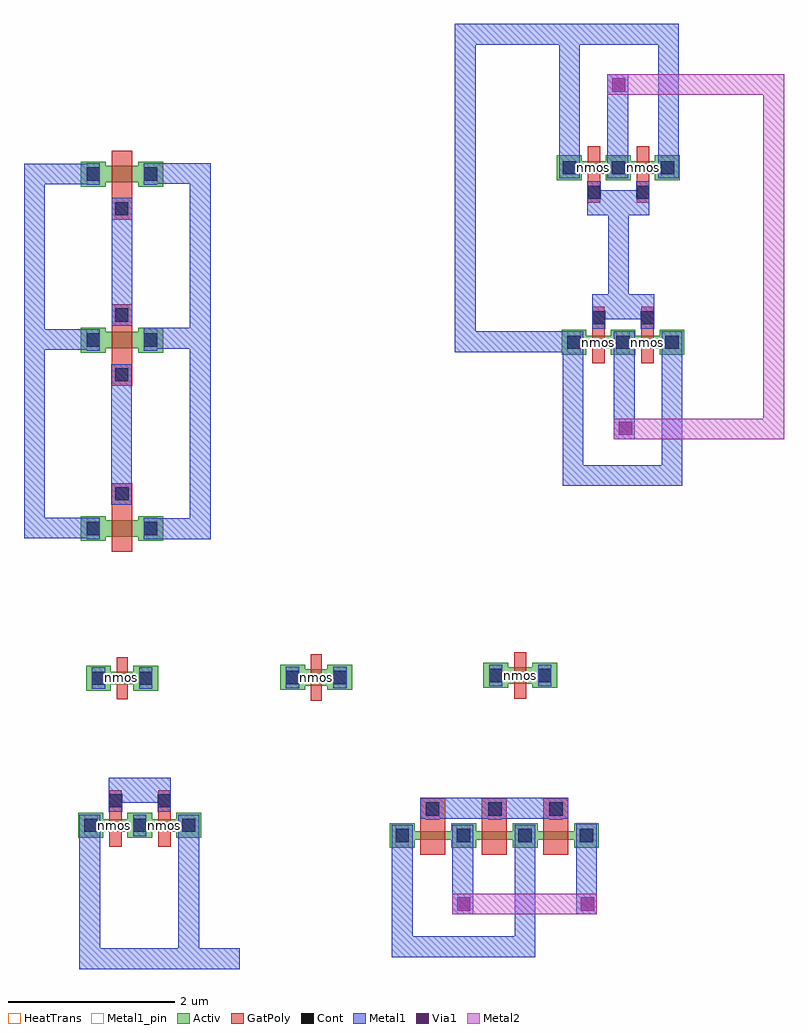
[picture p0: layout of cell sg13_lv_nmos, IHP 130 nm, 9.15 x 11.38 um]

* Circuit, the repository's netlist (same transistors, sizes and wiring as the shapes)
*==========================================================================
* Copyright 2024 IHP PDK Authors
*
* Licensed under the Apache License, Version 2.0 (the "License");
* you may not use this file except in compliance with the License.
* You may obtain a copy of the License at
*
*    https://www.apache.org/licenses/LICENSE-2.0
*
* Unless required by applicable law or agreed to in writing, software
* distributed under the License is distributed on an "AS IS" BASIS,
* WITHOUT WARRANTIES OR CONDITIONS OF ANY KIND, either express or implied.
* See the License for the specific language governing permissions and
* limitations under the License.
* SPDX-License-Identifier: Apache-2.0
*==========================================================================

.SUBCKT sg13_lv_nmos
MN1 D1 G1 S1 B sg13_lv_nmos w=150.00n l=130.00n ng=1 m=1
MN2 D2 G2 S2 B sg13_lv_nmos w=200.00n l=130.00n ng=1 m=1
MN3 D3 G3 S3 B sg13_lv_nmos w=200.00n l=150.00n ng=1 m=1
MN4 D4 G4 S4 B sg13_lv_nmos w=300.00n l=150.00n ng=2 m=1
MN5 D5 G5 S5 B sg13_lv_nmos w=300.00n l=300.00n ng=3 m=1
MN6 D6 G6 S6 B sg13_lv_nmos w=200.00n l=250.00n ng=1 m=3
MN7 D7 G7 S7 B sg13_lv_nmos w=300.00n l=150.00n ng=2 m=2
.ENDS

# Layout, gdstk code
import gdstk
lib = gdstk.Library(unit=1e-6, precision=1e-09)
def R(c, l, rs):  # rectangles x0, y0, x1, y1
    for r in rs: c.add(gdstk.rectangle(r[:2], r[2:], *l))
def A(c, l, x, y, w, h, nx, ny, dx, dy):  # array of equal rectangles
    R(c, l, [(x+i*dx, y+j*dy, x+i*dx+w, y+j*dy+h) for i in range(nx) for j in range(ny)])
Activ = (1, 0)
GatPoly = (5, 0)
Cont = (6, 0)
Metal1 = (8, 0)
Metal1_pin = (8, 2)
Metal2 = (10, 0)
Via1 = (19, 0)
HeatTrans = (51, 0)

sg13_lv_nmos = lib.new_cell('sg13_lv_nmos')
A(sg13_lv_nmos, Activ, 3.245, -1.769, 0.3, 0.3, 4, 1, 0.74, 0)
A(sg13_lv_nmos, Activ, -0.504, -1.647, 0.3, 0.3, 3, 1, 0.59, 0)
A(sg13_lv_nmos, Activ, 5.314, 4.171, 0.3, 0.3, 3, 1, 0.59, 0)
A(sg13_lv_nmos, Activ, 5.259, 6.273, 0.3, 0.3, 3, 1, 0.59, 0)
R(sg13_lv_nmos, Activ, [(3.245,-1.669,5.765,-1.569), (-0.504,-1.572,0.976,-1.422), (-0.412,0.125,-0.112,0.425), (0.158,0.125,0.458,0.425), (1.925,0.134,2.225,0.434), (2.495,0.134,2.795,0.434), (4.372,0.158,4.672,0.458), (4.962,0.158,5.262,0.458), (1.925,0.184,2.795,0.384), (-0.412,0.2,0.458,0.35), (4.372,0.208,5.262,0.408), (-0.475,1.928,-0.175,2.228), (0.215,1.928,0.515,2.228), (-0.475,1.978,0.515,2.178), (-0.475,4.196,-0.175,4.496), (0.215,4.196,0.515,4.496), (-0.475,4.246,0.515,4.446), (5.314,4.246,6.794,4.396), (-0.475,6.196,-0.175,6.496), (0.215,6.196,0.515,6.496), (-0.475,6.246,0.515,6.446), (5.259,6.348,6.739,6.498)])
A(sg13_lv_nmos, GatPoly, 3.615, -1.849, 0.3, 0.68, 3, 1, 0.74, 0)
R(sg13_lv_nmos, GatPoly, [(-0.134,-1.752,0.016,-1.072), (0.456,-1.752,0.606,-1.072), (2.295,0.004,2.425,0.564), (-0.042,0.02,0.088,0.53), (4.742,0.028,4.892,0.588), (-0.105,1.798,0.145,2.625), (-0.105,3.798,0.145,4.779), (5.684,4.066,5.834,4.746), (6.274,4.066,6.424,4.746), (-0.105,5.798,0.145,6.626), (5.629,5.998,5.779,6.678), (6.219,5.998,6.369,6.678)])
A(sg13_lv_nmos, Cont, 3.315, -1.699, 0.16, 0.16, 4, 1, 0.74, 0)
A(sg13_lv_nmos, Cont, -0.434, -1.577, 0.16, 0.16, 3, 1, 0.59, 0)
A(sg13_lv_nmos, Cont, 5.384, 4.241, 0.16, 0.16, 3, 1, 0.59, 0)
A(sg13_lv_nmos, Cont, 5.329, 6.343, 0.16, 0.16, 3, 1, 0.59, 0)
R(sg13_lv_nmos, Cont, [(3.679,-1.379,3.839,-1.219), (4.432,-1.379,4.592,-1.219), (5.166,-1.379,5.326,-1.219), (-0.137,-1.282,0.023,-1.122), (0.451,-1.282,0.611,-1.122), (-0.342,0.195,-0.182,0.355), (0.228,0.195,0.388,0.355), (1.995,0.204,2.155,0.364), (2.565,0.204,2.725,0.364), (4.442,0.228,4.602,0.388), (5.032,0.228,5.192,0.388), (-0.405,1.998,-0.245,2.158), (0.285,1.998,0.445,2.158), (-0.059,2.415,0.101,2.575), (-0.061,3.848,0.099,4.008), (-0.405,4.266,-0.245,4.426), (0.285,4.266,0.445,4.426), (5.681,4.536,5.841,4.696), (6.269,4.536,6.429,4.696), (-0.061,4.569,0.099,4.729), (-0.061,5.848,0.099,6.008), (5.624,6.048,5.784,6.208), (6.212,6.048,6.372,6.208), (-0.405,6.266,-0.245,6.426), (0.285,6.266,0.445,6.426)])
A(sg13_lv_nmos, Metal1, 3.315, -1.749, 0.16, 0.26, 4, 1, 0.74, 0)
A(sg13_lv_nmos, Metal1, -0.434, -1.627, 0.16, 0.26, 3, 1, 0.59, 0)
A(sg13_lv_nmos, Metal1, 5.384, 4.191, 0.16, 0.26, 3, 1, 0.59, 0)
A(sg13_lv_nmos, Metal1, 5.329, 6.293, 0.16, 0.26, 3, 1, 0.59, 0)
R(sg13_lv_nmos, Metal1, [(3.679,-1.429,3.839,-1.169), (4.432,-1.429,4.592,-1.169), (5.166,-1.429,5.326,-1.169), (-0.137,-1.332,0.023,-1.072), (0.451,-1.332,0.611,-1.072), (-0.342,0.145,-0.182,0.405), (0.228,0.145,0.388,0.405), (1.995,0.154,2.155,0.414), (2.565,0.154,2.725,0.414), (4.442,0.178,4.602,0.438), (5.032,0.178,5.192,0.438), (-0.405,1.948,-0.245,2.208), (0.285,1.948,0.445,2.208), (-0.059,2.365,0.101,2.625), (-0.061,3.798,0.099,4.058), (-0.405,4.216,-0.245,4.476), (0.285,4.216,0.445,4.476), (5.681,4.486,5.841,4.746), (6.269,4.486,6.429,4.746), (-0.061,4.519,0.099,4.779), (-0.061,5.798,0.099,6.058), (5.624,5.998,5.784,6.258), (6.212,5.998,6.372,6.258), (-0.405,6.216,-0.245,6.476), (0.285,6.216,0.445,6.476)])
R(sg13_lv_nmos, Metal1_pin, [(3.315,-1.749,3.475,-1.489), (3.315,-1.749,3.475,-1.489), (4.055,-1.749,4.215,-1.489), (4.055,-1.749,4.215,-1.489), (-0.434,-1.627,-0.274,-1.367), (-0.434,-1.627,-0.274,-1.367), (0.156,-1.627,0.316,-1.367), (0.156,-1.627,0.316,-1.367), (-0.342,0.145,-0.182,0.405), (-0.342,0.145,-0.182,0.405), (0.228,0.145,0.388,0.405), (0.228,0.145,0.388,0.405), (1.995,0.154,2.155,0.414), (1.995,0.154,2.155,0.414), (2.565,0.154,2.725,0.414), (2.565,0.154,2.725,0.414), (4.442,0.178,4.602,0.438), (4.442,0.178,4.602,0.438), (5.032,0.178,5.192,0.438), (5.032,0.178,5.192,0.438), (-0.405,1.948,-0.245,2.208), (-0.405,1.948,-0.245,2.208), (0.285,1.948,0.445,2.208), (0.285,1.948,0.445,2.208), (5.384,4.191,5.544,4.451), (5.384,4.191,5.544,4.451), (5.974,4.191,6.134,4.451), (5.974,4.191,6.134,4.451), (-0.405,4.216,-0.245,4.476), (-0.405,4.216,-0.245,4.476), (0.285,4.216,0.445,4.476), (0.285,4.216,0.445,4.476), (-0.405,6.216,-0.245,6.476), (-0.405,6.216,-0.245,6.476), (0.285,6.216,0.445,6.476), (0.285,6.216,0.445,6.476), (5.919,6.293,6.079,6.553), (5.919,6.293,6.079,6.553), (6.509,6.293,6.669,6.553), (6.509,6.293,6.669,6.553)])
R(sg13_lv_nmos, Via1, [(4.057,-2.523,4.217,-2.363), (5.548,-2.523,5.708,-2.363), (6.004,3.205,6.164,3.365), (5.922,7.339,6.082,7.499)])
A(sg13_lv_nmos, HeatTrans, 3.615, -1.849, 0.3, 0.68, 3, 1, 0.74, 0)
R(sg13_lv_nmos, HeatTrans, [(-0.134,-1.752,0.016,-1.242), (0.456,-1.752,0.606,-1.242), (2.295,0.004,2.425,0.564), (-0.042,0.02,0.088,0.53), (4.742,0.028,4.892,0.588), (-0.105,1.798,0.145,2.625), (-0.105,3.798,0.145,4.779), (5.684,4.066,5.834,4.576), (6.274,4.066,6.424,4.576), (-0.105,5.798,0.145,6.626), (5.629,6.168,5.779,6.678), (6.219,6.168,6.369,6.678)])
sg13_lv_nmos.add(gdstk.FlexPath([(-0.367,-1.367),(-0.367,-3.102)], 0.25, ends="flush", simple_path=True, layer=8, datatype=0))  # Metal1
sg13_lv_nmos.add(gdstk.FlexPath([(-0.492,-3.102),(1.438,-3.102)], 0.25, ends="flush", simple_path=True, layer=8, datatype=0))  # Metal1
sg13_lv_nmos.add(gdstk.FlexPath([(0.825,-1.367),(0.825,-3.227)], 0.25, ends="flush", simple_path=True, layer=8, datatype=0))  # Metal1
sg13_lv_nmos.add(gdstk.FlexPath([(5.451,4.451),(5.451,2.716)], 0.25, ends="flush", simple_path=True, layer=8, datatype=0))  # Metal1
sg13_lv_nmos.add(gdstk.FlexPath([(5.326,2.716),(6.768,2.716)], 0.25, ends="flush", simple_path=True, layer=8, datatype=0))  # Metal1
sg13_lv_nmos.add(gdstk.FlexPath([(6.643,4.451),(6.643,2.591)], 0.25, ends="flush", simple_path=True, layer=8, datatype=0))  # Metal1
sg13_lv_nmos.add(gdstk.FlexPath([(6.429,4.746),(5.681,4.746)], 0.3, ends="flush", simple_path=True, layer=8, datatype=0))  # Metal1
sg13_lv_nmos.add(gdstk.FlexPath([(6.602,6.293),(6.602,8.028)], 0.25, ends="flush", simple_path=True, layer=8, datatype=0))  # Metal1
sg13_lv_nmos.add(gdstk.FlexPath([(6.727,8.028),(4.797,8.028)], 0.25, ends="flush", simple_path=True, layer=8, datatype=0))  # Metal1
sg13_lv_nmos.add(gdstk.FlexPath([(5.41,6.293),(5.41,8.153)], 0.25, ends="flush", simple_path=True, layer=8, datatype=0))  # Metal1
sg13_lv_nmos.add(gdstk.FlexPath([(5.624,5.998),(6.372,5.998)], 0.3, ends="flush", simple_path=True, layer=8, datatype=0))  # Metal1
sg13_lv_nmos.add(gdstk.FlexPath([(5.999,6.148),(5.999,4.596)], 0.25, ends="flush", simple_path=True, layer=8, datatype=0))  # Metal1
sg13_lv_nmos.add(gdstk.FlexPath([(5.544,4.326),(4.155,4.326),(4.155,8.153)], 0.25, ends="flush", simple_path=True, layer=8, datatype=0))  # Metal1
sg13_lv_nmos.add(gdstk.FlexPath([(6.07,4.451),(6.07,3.15)], 0.25, ends="flush", simple_path=True, layer=8, datatype=0))  # Metal1
sg13_lv_nmos.add(gdstk.FlexPath([(5.968,8.028),(6.727,8.028)], 0.25, ends="flush", simple_path=True, layer=8, datatype=0))  # Metal1
sg13_lv_nmos.add(gdstk.FlexPath([(5.154,8.028),(4.03,8.028)], 0.25, ends="flush", simple_path=True, layer=8, datatype=0))  # Metal1
sg13_lv_nmos.add(gdstk.FlexPath([(5.99,6.293),(5.99,7.549)], 0.25, ends="flush", simple_path=True, layer=8, datatype=0))  # Metal1
sg13_lv_nmos.add(gdstk.FlexPath([(-1.034,4.015),(-1.034,6.347),(-0.245,6.347)], 0.25, ends="flush", simple_path=True, layer=8, datatype=0))  # Metal1
sg13_lv_nmos.add(gdstk.FlexPath([(0.963,4.186),(0.963,6.354),(0.285,6.354)], 0.25, ends="flush", simple_path=True, layer=8, datatype=0))  # Metal1
sg13_lv_nmos.add(gdstk.FlexPath([(0.022,4.519),(0.022,6.058)], 0.25, ends="flush", simple_path=True, layer=8, datatype=0))  # Metal1
sg13_lv_nmos.add(gdstk.FlexPath([(3.397,-1.489),(3.397,-3.085)], 0.25, ends="flush", simple_path=True, layer=8, datatype=0))  # Metal1
sg13_lv_nmos.add(gdstk.FlexPath([(3.276,-2.96),(4.998,-2.96)], 0.25, ends="flush", simple_path=True, layer=8, datatype=0))  # Metal1
sg13_lv_nmos.add(gdstk.FlexPath([(4.873,-1.489),(4.873,-3.085)], 0.25, ends="flush", simple_path=True, layer=8, datatype=0))  # Metal1
sg13_lv_nmos.add(gdstk.FlexPath([(4.125,-1.489),(4.125,-2.569)], 0.25, ends="flush", simple_path=True, layer=8, datatype=0))  # Metal1
sg13_lv_nmos.add(gdstk.FlexPath([(5.616,-1.48),(5.616,-2.569)], 0.25, ends="flush", simple_path=True, layer=8, datatype=0))  # Metal1
sg13_lv_nmos.add(gdstk.FlexPath([(0.285,4.37),(0.963,4.37),(0.963,2.076),(0.285,2.076)], 0.25, ends="flush", simple_path=True, layer=8, datatype=0))  # Metal1
sg13_lv_nmos.add(gdstk.FlexPath([(-0.245,4.354),(-1.034,4.354),(-1.034,2.085),(-0.245,2.085)], 0.25, ends="flush", simple_path=True, layer=8, datatype=0))  # Metal1
sg13_lv_nmos.add(gdstk.FlexPath([(0.016,2.365),(0.016,4.058)], 0.25, ends="flush", simple_path=True, layer=8, datatype=0))  # Metal1
sg13_lv_nmos.add(gdstk.FlexPath([(3.615,-1.292),(5.395,-1.292)], 0.25, ends="flush", simple_path=True, layer=8, datatype=0))  # Metal1
sg13_lv_nmos.add(gdstk.FlexPath([(0.611,-1.072),(-0.137,-1.072)], 0.3, ends="flush", simple_path=True, layer=8, datatype=0))  # Metal1
sg13_lv_nmos.add(gdstk.FlexPath([(5.865,7.424),(7.868,7.424)], 0.25, ends="flush", simple_path=True, layer=10, datatype=0))  # Metal2
sg13_lv_nmos.add(gdstk.FlexPath([(5.945,3.275),(7.993,3.275)], 0.25, ends="flush", simple_path=True, layer=10, datatype=0))  # Metal2
sg13_lv_nmos.add(gdstk.FlexPath([(7.868,7.549),(7.868,3.15)], 0.25, ends="flush", simple_path=True, layer=10, datatype=0))  # Metal2
sg13_lv_nmos.add(gdstk.FlexPath([(4,-2.444),(5.741,-2.444)], 0.25, ends="flush", simple_path=True, layer=10, datatype=0))  # Metal2
sg13_lv_nmos.add(gdstk.Label('nmos', (5.754,4.321), layer=51, texttype=0))
sg13_lv_nmos.add(gdstk.Label('nmos', (6.354,4.321), layer=51, texttype=0))
sg13_lv_nmos.add(gdstk.Label('nmos', (6.299,6.423), layer=51, texttype=0))
sg13_lv_nmos.add(gdstk.Label('nmos', (5.699,6.423), layer=51, texttype=0))
sg13_lv_nmos.add(gdstk.Label('nmos', (-0.064,-1.497), layer=51, texttype=0))
sg13_lv_nmos.add(gdstk.Label('nmos', (0.536,-1.497), layer=51, texttype=0))
sg13_lv_nmos.add(gdstk.Label('nmos', (4.82,0.31), layer=51, texttype=0))
sg13_lv_nmos.add(gdstk.Label('nmos', (2.36,0.28), layer=51, texttype=0))
sg13_lv_nmos.add(gdstk.Label('nmos', (0.02,0.28), layer=51, texttype=0))

lib.write_gds('sg13_lv_nmos.gds')
